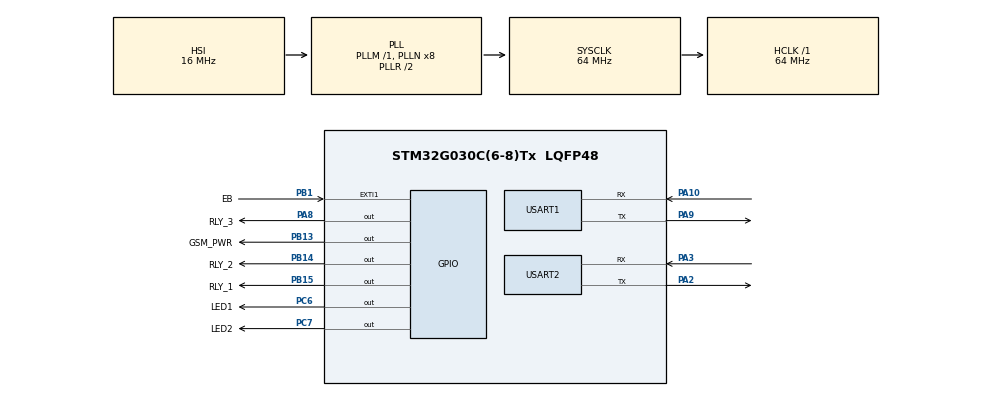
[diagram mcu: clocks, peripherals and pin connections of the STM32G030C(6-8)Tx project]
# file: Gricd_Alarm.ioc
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Mcu.Family=STM32G0
Mcu.Name=STM32G030C(6-8)Tx
Mcu.Package=LQFP48
NVIC.EXTI0_1_IRQn=true\:0\:0\:false\:false\:true\:true\:true
NVIC.TIM3_IRQn=true\:0\:0\:false\:false\:true\:true\:true
NVIC.USART1_IRQn=true\:0\:0\:false\:false\:true\:true\:true
NVIC.USART2_IRQn=true\:0\:0\:false\:false\:true\:true\:true
PA10.Mode=Asynchronous
PA10.Signal=USART1_RX
PA13.Mode=Serial_Wire
PA13.Signal=SYS_SWDIO
PA14-BOOT0.Mode=Serial_Wire
PA14-BOOT0.Signal=SYS_SWCLK
PA2.Mode=Asynchronous
PA2.Signal=USART2_TX
PA3.Mode=Asynchronous
PA3.Signal=USART2_RX
PA8.GPIO_Label=RLY_3
PA8.Signal=GPIO_Output
PA9.Mode=Asynchronous
PA9.Signal=USART1_TX
PB1.GPIO_Label=EB
PB1.GPIO_ModeDefaultEXTI=GPIO_MODE_IT_FALLING
PB1.GPIO_PuPd=GPIO_PULLUP
PB1.Signal=GPXTI1
PB13.GPIO_Label=GSM_PWR
PB13.Signal=GPIO_Output
PB14.GPIO_Label=RLY_2
PB14.Signal=GPIO_Output
PB15.GPIO_Label=RLY_1
PB15.Signal=GPIO_Output
PC14-OSC32_IN\ (PC14).Mode=LSE-External-Oscillator
PC14-OSC32_IN\ (PC14).Signal=RCC_OSC32_IN
PC15-OSC32_OUT\ (PC15).Mode=LSE-External-Oscillator
PC15-OSC32_OUT\ (PC15).Signal=RCC_OSC32_OUT
PC6.GPIO_Label=LED1
PC6.Signal=GPIO_Output
PC7.GPIO_Label=LED2
PC7.Signal=GPIO_Output
ProjectManager.HeapSize=0x200
ProjectManager.StackSize=0x400
ProjectManager.TargetToolchain=STM32CubeIDE
RCC.ADCFreq_Value=64000000
RCC.AHBFreq_Value=64000000
RCC.CortexFreq_Value=64000000
RCC.EXTERNAL_CLOCK_VALUE=12288000
RCC.HCLKFreq_Value=64000000
RCC.HSE_VALUE=8000000
RCC.HSI_VALUE=16000000
RCC.RTCClockSelection=RCC_RTCCLKSOURCE_LSE
RCC.SYSCLKFreq_VALUE=64000000
RCC.SYSCLKSource=RCC_SYSCLKSOURCE_PLLCLK
RCC.VCOOutputFreq_Value=128000000
RTC.Date=7
RTC.Hours=23
RTC.Minutes=59
RTC.Seconds=45
TIM3.Period=250
TIM3.Prescaler=64000
USART1.VirtualMode-Asynchronous=VM_ASYNC
USART2.VirtualMode-Asynchronous=VM_ASYNC
VP_RTC_VS_RTC_Activate.Mode=RTC_Enabled
VP_RTC_VS_RTC_Calendar.Mode=RTC_Calendar
VP_TIM3_VS_ClockSourceINT.Mode=Internal
board=custom

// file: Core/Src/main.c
/* USER CODE BEGIN Header */
/**
  ******************************************************************************
  * @file           : main.c
  * @brief          : Main program body
  ******************************************************************************
  * @attention
  *
  * <h2><center>&copy; Copyright (c) 2021 STMicroelectronics.
  * All rights reserved.</center></h2>
  *
  * This software component is licensed by ST under BSD 3-Clause license,
  * the "License"; You may not use this file except in compliance with the
  * License. You may obtain a copy of the License at:
  *                        opensource.org/licenses/BSD-3-Clause
  *
  ******************************************************************************
  */
/* USER CODE END Header */
#include "main.h"

/* USER CODE BEGIN Includes */
#include "gsm_process.h"
/* USER CODE END Includes */

RTC_HandleTypeDef hrtc;

TIM_HandleTypeDef htim3;

UART_HandleTypeDef huart1;
UART_HandleTypeDef huart2;

void SystemClock_Config(void);
static void MX_GPIO_Init(void);
static void MX_USART1_UART_Init(void);
static void MX_USART2_UART_Init(void);
static void MX_RTC_Init(void);
static void MX_TIM3_Init(void);

/* USER CODE BEGIN 0 */

void GSM_PowerCycle(void)
{
	HAL_GPIO_WritePin(GSM_PWR_GPIO_Port, GSM_PWR_Pin, GPIO_PIN_RESET);
	HAL_Delay(100);
	HAL_GPIO_WritePin(GSM_PWR_GPIO_Port, GSM_PWR_Pin, GPIO_PIN_SET);
	HAL_Delay(2500);	//wait for 2.5s
	HAL_GPIO_WritePin(GSM_PWR_GPIO_Port, GSM_PWR_Pin, GPIO_PIN_RESET);
}

void repower_handler(void)
{
	if((gsm_pwr_tmr != 0 && gsm_pwr_cnt < 2) /*|| !GSM_Is_Powered*/)
	{
		GSM_PowerCycle();
		gsm_operation_delay = HAL_GetTick() + (u32)GSM_DELAY;

		gsm_pwr_cnt++;
		gsm_pwr_tmr = 0;
		//GSM_Is_Powered = true;
	}
}

void toggle_alarm()
{
	if(alarm == 1)
	{
		HAL_GPIO_WritePin(RLY_3_GPIO_Port, RLY_3_Pin, GPIO_PIN_SET);
	}
	else
	{
		HAL_GPIO_WritePin(RLY_3_GPIO_Port, RLY_3_Pin, GPIO_PIN_RESET);
	}
}

/* USER CODE END 0 */

int main(void)
{

  /* MCU Configuration--------------------------------------------------------*/

  /* Reset of all peripherals, Initializes the Flash interface and the Systick. */
  HAL_Init();

  /* Configure the system clock */
  SystemClock_Config();

  /* Initialize all configured peripherals */
  MX_GPIO_Init();
  MX_USART1_UART_Init();
  MX_USART2_UART_Init();
  MX_RTC_Init();
  MX_TIM3_Init();
  /* USER CODE BEGIN 2 */
  HAL_TIM_Base_Start_IT(&htim3);
  //GSM_PowerCycle();
  setUp_GSM();

  /* USER CODE END 2 */

  /* Infinite loop */
#ifdef debug
  u32 ttloop = HAL_GetTick();
  printf("In main()\r\n");
#endif
  while (1)
  {
	  GSM_Process();
	  synchronize_time();
	  toggle_alarm();
	  repower_handler();

#ifdef debug
	  if(HAL_GetTick() >= ttloop)
	  {
		  printf("In Loop\r\n");
		  ttloop = HAL_GetTick() + 3000;
	  }
#endif

  }
}

void SystemClock_Config(void)
{
  RCC_OscInitTypeDef RCC_OscInitStruct = {0};
  RCC_ClkInitTypeDef RCC_ClkInitStruct = {0};
  RCC_PeriphCLKInitTypeDef PeriphClkInit = {0};

  /** Configure the main internal regulator output voltage
  */
  HAL_PWREx_ControlVoltageScaling(PWR_REGULATOR_VOLTAGE_SCALE1);
  /** Configure LSE Drive Capability
  */
  HAL_PWR_EnableBkUpAccess();
  __HAL_RCC_LSEDRIVE_CONFIG(RCC_LSEDRIVE_LOW);
  /** Initializes the RCC Oscillators according to the specified parameters
  * in the RCC_OscInitTypeDef structure.
  */
  RCC_OscInitStruct.OscillatorType = RCC_OSCILLATORTYPE_HSI|RCC_OSCILLATORTYPE_LSE;
  RCC_OscInitStruct.LSEState = RCC_LSE_ON;
  RCC_OscInitStruct.HSIState = RCC_HSI_ON;
  RCC_OscInitStruct.HSIDiv = RCC_HSI_DIV1;
  RCC_OscInitStruct.HSICalibrationValue = RCC_HSICALIBRATION_DEFAULT;
  RCC_OscInitStruct.PLL.PLLState = RCC_PLL_ON;
  RCC_OscInitStruct.PLL.PLLSource = RCC_PLLSOURCE_HSI;
  RCC_OscInitStruct.PLL.PLLM = RCC_PLLM_DIV1;
  RCC_OscInitStruct.PLL.PLLN = 8;
  RCC_OscInitStruct.PLL.PLLP = RCC_PLLP_DIV2;
  RCC_OscInitStruct.PLL.PLLR = RCC_PLLR_DIV2;
  if (HAL_RCC_OscConfig(&RCC_OscInitStruct) != HAL_OK)
  {
    Error_Handler();
  }
  /** Initializes the CPU, AHB and APB buses clocks
  */
  RCC_ClkInitStruct.ClockType = RCC_CLOCKTYPE_HCLK|RCC_CLOCKTYPE_SYSCLK
                              |RCC_CLOCKTYPE_PCLK1;
  RCC_ClkInitStruct.SYSCLKSource = RCC_SYSCLKSOURCE_PLLCLK;
  RCC_ClkInitStruct.AHBCLKDivider = RCC_SYSCLK_DIV1;
  RCC_ClkInitStruct.APB1CLKDivider = RCC_HCLK_DIV1;

  if (HAL_RCC_ClockConfig(&RCC_ClkInitStruct, FLASH_LATENCY_2) != HAL_OK)
  {
    Error_Handler();
  }
  /** Initializes the peripherals clocks
  */
  PeriphClkInit.PeriphClockSelection = RCC_PERIPHCLK_RTC|RCC_PERIPHCLK_USART1;
  PeriphClkInit.Usart1ClockSelection = RCC_USART1CLKSOURCE_PCLK1;
  PeriphClkInit.RTCClockSelection = RCC_RTCCLKSOURCE_LSE;

  if (HAL_RCCEx_PeriphCLKConfig(&PeriphClkInit) != HAL_OK)
  {
    Error_Handler();
  }
}

static void MX_RTC_Init(void)
{

  RTC_TimeTypeDef sTime = {0};
  RTC_DateTypeDef sDate = {0};

  /** Initialize RTC Only
  */
  hrtc.Instance = RTC;
  hrtc.Init.HourFormat = RTC_HOURFORMAT_24;
  hrtc.Init.AsynchPrediv = 127;
  hrtc.Init.SynchPrediv = 255;
  hrtc.Init.OutPut = RTC_OUTPUT_DISABLE;
  hrtc.Init.OutPutRemap = RTC_OUTPUT_REMAP_NONE;
  hrtc.Init.OutPutPolarity = RTC_OUTPUT_POLARITY_HIGH;
  hrtc.Init.OutPutType = RTC_OUTPUT_TYPE_OPENDRAIN;
  hrtc.Init.OutPutPullUp = RTC_OUTPUT_PULLUP_NONE;
  if (HAL_RTC_Init(&hrtc) != HAL_OK)
  {
    Error_Handler();
  }

  /** Initialize RTC and set the Time and Date
  */
  sTime.Hours = 0x23;
  sTime.Minutes = 0x59;
  sTime.Seconds = 0x45;
  sTime.SubSeconds = 0x0;
  sTime.DayLightSaving = RTC_DAYLIGHTSAVING_NONE;
  sTime.StoreOperation = RTC_STOREOPERATION_RESET;
  if (HAL_RTC_SetTime(&hrtc, &sTime, RTC_FORMAT_BCD) != HAL_OK)
  {
    Error_Handler();
  }
  sDate.WeekDay = RTC_WEEKDAY_MONDAY;
  sDate.Month = RTC_MONTH_JANUARY;
  sDate.Date = 0x7;
  sDate.Year = 0x0;

  if (HAL_RTC_SetDate(&hrtc, &sDate, RTC_FORMAT_BCD) != HAL_OK)
  {
    Error_Handler();
  }

}

static void MX_TIM3_Init(void)
{

  TIM_ClockConfigTypeDef sClockSourceConfig = {0};
  TIM_MasterConfigTypeDef sMasterConfig = {0};

  htim3.Instance = TIM3;
  htim3.Init.Prescaler = 64000;
  htim3.Init.CounterMode = TIM_COUNTERMODE_UP;
  htim3.Init.Period = 250;
  htim3.Init.ClockDivision = TIM_CLOCKDIVISION_DIV1;
  htim3.Init.AutoReloadPreload = TIM_AUTORELOAD_PRELOAD_DISABLE;
  if (HAL_TIM_Base_Init(&htim3) != HAL_OK)
  {
    Error_Handler();
  }
  sClockSourceConfig.ClockSource = TIM_CLOCKSOURCE_INTERNAL;
  if (HAL_TIM_ConfigClockSource(&htim3, &sClockSourceConfig) != HAL_OK)
  {
    Error_Handler();
  }
  sMasterConfig.MasterOutputTrigger = TIM_TRGO_RESET;
  sMasterConfig.MasterSlaveMode = TIM_MASTERSLAVEMODE_DISABLE;
  if (HAL_TIMEx_MasterConfigSynchronization(&htim3, &sMasterConfig) != HAL_OK)
  {
    Error_Handler();
  }

}

static void MX_USART1_UART_Init(void)
{

  huart1.Instance = USART1;
  huart1.Init.BaudRate = 115200;
  huart1.Init.WordLength = UART_WORDLENGTH_8B;
  huart1.Init.StopBits = UART_STOPBITS_1;
  huart1.Init.Parity = UART_PARITY_NONE;
  huart1.Init.Mode = UART_MODE_TX_RX;
  huart1.Init.HwFlowCtl = UART_HWCONTROL_NONE;
  huart1.Init.OverSampling = UART_OVERSAMPLING_16;
  huart1.Init.OneBitSampling = UART_ONE_BIT_SAMPLE_DISABLE;
  huart1.Init.ClockPrescaler = UART_PRESCALER_DIV1;
  huart1.AdvancedInit.AdvFeatureInit = UART_ADVFEATURE_NO_INIT;
  if (HAL_UART_Init(&huart1) != HAL_OK)
  {
    Error_Handler();
  }
  if (HAL_UARTEx_SetTxFifoThreshold(&huart1, UART_TXFIFO_THRESHOLD_1_8) != HAL_OK)
  {
    Error_Handler();
  }
  if (HAL_UARTEx_SetRxFifoThreshold(&huart1, UART_RXFIFO_THRESHOLD_1_8) != HAL_OK)
  {
    Error_Handler();
  }
  if (HAL_UARTEx_DisableFifoMode(&huart1) != HAL_OK)
  {
    Error_Handler();
  }

}

static void MX_USART2_UART_Init(void)
{

  huart2.Instance = USART2;
  huart2.Init.BaudRate = 115200;
  huart2.Init.WordLength = UART_WORDLENGTH_8B;
  huart2.Init.StopBits = UART_STOPBITS_1;
  huart2.Init.Parity = UART_PARITY_NONE;
  huart2.Init.Mode = UART_MODE_TX_RX;
  huart2.Init.HwFlowCtl = UART_HWCONTROL_NONE;
  huart2.Init.OverSampling = UART_OVERSAMPLING_16;
  huart2.Init.OneBitSampling = UART_ONE_BIT_SAMPLE_DISABLE;
  huart2.Init.ClockPrescaler = UART_PRESCALER_DIV1;
  huart2.AdvancedInit.AdvFeatureInit = UART_ADVFEATURE_NO_INIT;
  if (HAL_UART_Init(&huart2) != HAL_OK)
  {
    Error_Handler();
  }

}

static void MX_GPIO_Init(void)
{
  GPIO_InitTypeDef GPIO_InitStruct = {0};

  /* GPIO Ports Clock Enable */
  __HAL_RCC_GPIOC_CLK_ENABLE();
  __HAL_RCC_GPIOA_CLK_ENABLE();
  __HAL_RCC_GPIOB_CLK_ENABLE();

  /*Configure GPIO pin Output Level */
  HAL_GPIO_WritePin(GPIOB, GSM_PWR_Pin|RLY_2_Pin|RLY_1_Pin, GPIO_PIN_RESET);

  /*Configure GPIO pin Output Level */
  HAL_GPIO_WritePin(RLY_3_GPIO_Port, RLY_3_Pin, GPIO_PIN_RESET);

  /*Configure GPIO pin Output Level */
  HAL_GPIO_WritePin(GPIOC, LED1_Pin|LED2_Pin, GPIO_PIN_RESET);

  /*Configure GPIO pin : EB_Pin */
  GPIO_InitStruct.Pin = EB_Pin;
  GPIO_InitStruct.Mode = GPIO_MODE_IT_FALLING;
  GPIO_InitStruct.Pull = GPIO_PULLUP;
  HAL_GPIO_Init(EB_GPIO_Port, &GPIO_InitStruct);

  /*Configure GPIO pins : GSM_PWR_Pin RLY_2_Pin RLY_1_Pin */
  GPIO_InitStruct.Pin = GSM_PWR_Pin|RLY_2_Pin|RLY_1_Pin;
  GPIO_InitStruct.Mode = GPIO_MODE_OUTPUT_PP;
  GPIO_InitStruct.Pull = GPIO_NOPULL;
  GPIO_InitStruct.Speed = GPIO_SPEED_FREQ_LOW;
  HAL_GPIO_Init(GPIOB, &GPIO_InitStruct);

  /*Configure GPIO pin : RLY_3_Pin */
  GPIO_InitStruct.Pin = RLY_3_Pin;
  GPIO_InitStruct.Mode = GPIO_MODE_OUTPUT_PP;
  GPIO_InitStruct.Pull = GPIO_NOPULL;
  GPIO_InitStruct.Speed = GPIO_SPEED_FREQ_LOW;
  HAL_GPIO_Init(RLY_3_GPIO_Port, &GPIO_InitStruct);

  /*Configure GPIO pins : LED1_Pin LED2_Pin */
  GPIO_InitStruct.Pin = LED1_Pin|LED2_Pin;
  GPIO_InitStruct.Mode = GPIO_MODE_OUTPUT_PP;
  GPIO_InitStruct.Pull = GPIO_NOPULL;
  GPIO_InitStruct.Speed = GPIO_SPEED_FREQ_LOW;
  HAL_GPIO_Init(GPIOC, &GPIO_InitStruct);

  /* EXTI interrupt init*/
  HAL_NVIC_SetPriority(EXTI0_1_IRQn, 0, 0);
  HAL_NVIC_EnableIRQ(EXTI0_1_IRQn);

}

/* USER CODE BEGIN 4 */

void HAL_TIM_PeriodElapsedCallback(TIM_HandleTypeDef *htim)
{
	if(!tcp_alive)
	{
		HAL_GPIO_WritePin(LED2_GPIO_Port, LED2_Pin, GPIO_PIN_RESET);
		HAL_GPIO_TogglePin(LED1_GPIO_Port, LED1_Pin);
	}
	else
	{
		HAL_GPIO_WritePin(LED1_GPIO_Port, LED1_Pin, GPIO_PIN_RESET);
		HAL_GPIO_TogglePin(LED2_GPIO_Port, LED2_Pin);
	}
}

void HAL_GPIO_EXTI_Falling_Callback(uint16_t GPIO_Pin)
{
	if(GPIO_Pin == EB_Pin)
	{
		alarm = 0;
	}
	else
	{
		__NOP();
	}
}

/* USER CODE END 4 */

void Error_Handler(void)
{
  __disable_irq();
  while (1)
  {
  }
}

/************************ (C) COPYRIGHT STMicroelectronics *****END OF FILE****/
